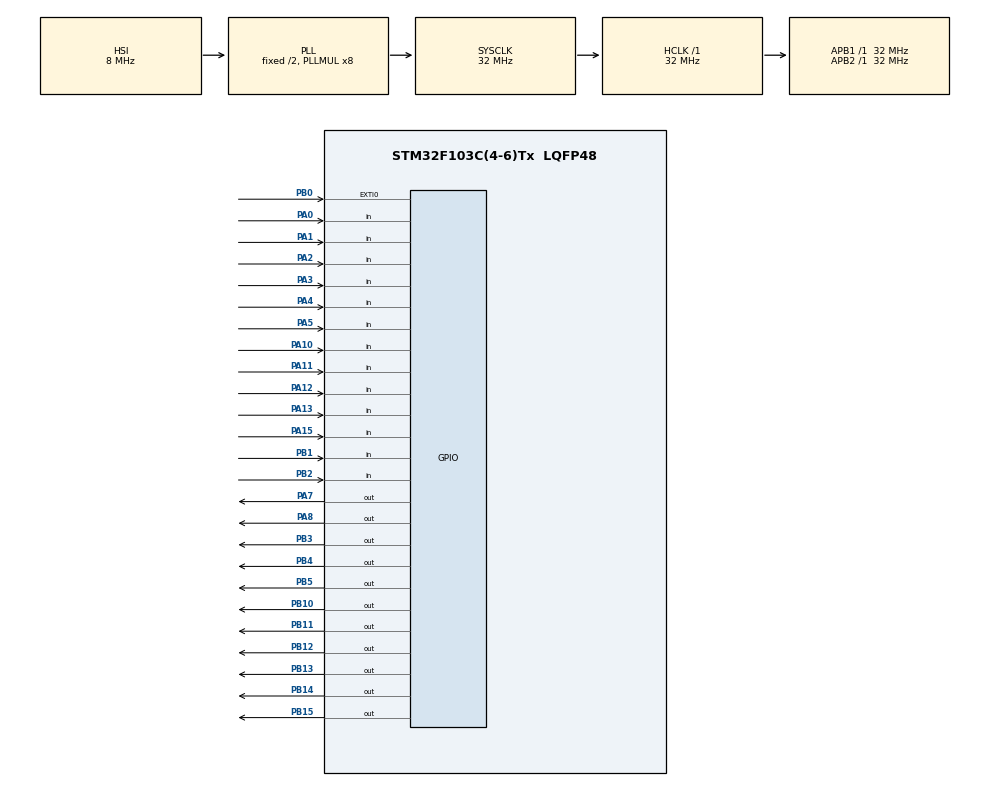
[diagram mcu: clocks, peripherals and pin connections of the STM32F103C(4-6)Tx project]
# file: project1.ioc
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Mcu.Family=STM32F1
Mcu.Name=STM32F103C(4-6)Tx
Mcu.Package=LQFP48
NVIC.EXTI0_IRQn=true\:1\:0\:true\:false\:true\:true\:true\:true
NVIC.PriorityGroup=NVIC_PRIORITYGROUP_4
NVIC.TIM1_UP_IRQn=true\:15\:0\:false\:false\:true\:true\:true\:true
NVIC.TIM3_IRQn=true\:0\:0\:false\:false\:true\:true\:true\:true
NVIC.TimeBase=TIM1_UP_IRQn
NVIC.TimeBaseIP=TIM1
PA0-WKUP.GPIO_PuPd=GPIO_PULLUP
PA0-WKUP.Signal=GPIO_Input
PA1.GPIO_PuPd=GPIO_PULLUP
PA1.Signal=GPIO_Input
PA10.GPIO_PuPd=GPIO_PULLUP
PA10.Signal=GPIO_Input
PA11.GPIO_PuPd=GPIO_PULLUP
PA11.Signal=GPIO_Input
PA12.GPIO_PuPd=GPIO_PULLUP
PA12.Signal=GPIO_Input
PA13.GPIO_PuPd=GPIO_PULLUP
PA13.Signal=GPIO_Input
PA15.GPIO_PuPd=GPIO_PULLUP
PA15.Signal=GPIO_Input
PA2.GPIO_PuPd=GPIO_PULLUP
PA2.Signal=GPIO_Input
PA3.GPIO_PuPd=GPIO_PULLUP
PA3.Signal=GPIO_Input
PA4.GPIO_PuPd=GPIO_PULLUP
PA4.Signal=GPIO_Input
PA5.GPIO_PuPd=GPIO_PULLUP
PA5.Signal=GPIO_Input
PA7.Signal=GPIO_Output
PA8.Signal=GPIO_Output
PB0.GPIO_ModeDefaultEXTI=GPIO_MODE_IT_FALLING
PB0.Signal=GPXTI0
PB1.GPIO_PuPd=GPIO_PULLUP
PB1.Signal=GPIO_Input
PB10.Signal=GPIO_Output
PB11.Signal=GPIO_Output
PB12.Signal=GPIO_Output
PB13.Signal=GPIO_Output
PB14.Signal=GPIO_Output
PB15.Signal=GPIO_Output
PB2.GPIO_PuPd=GPIO_PULLUP
PB2.Signal=GPIO_Input
PB3.Signal=GPIO_Output
PB4.Signal=GPIO_Output
PB5.Signal=GPIO_Output
ProjectManager.HeapSize=0x200
ProjectManager.StackSize=0x400
ProjectManager.TargetToolchain=STM32CubeIDE
RCC.AHBFreq_Value=32000000
RCC.APB1Freq_Value=32000000
RCC.APB1TimFreq_Value=32000000
RCC.APB2Freq_Value=32000000
RCC.APB2TimFreq_Value=32000000
RCC.DATA_CACHE_ENABLE=1
RCC.HCLKFreq_Value=32000000
RCC.INSTRUCTION_CACHE_ENABLE=1
RCC.PLLMUL=RCC_PLL_MUL8
RCC.PWR_Regulator_Voltage_Scale=PWR_REGULATOR_VOLTAGE_SCALE2
RCC.RCC_TIM_PRescaler_Selection=RCC_TIMPRES_DESACTIVATED
RCC.SYSCLKFreq_VALUE=32000000
RCC.SYSCLKSource=RCC_SYSCLKSOURCE_PLLCLK
RCC.USBFreq_Value=32000000
TIM3.AutoReloadPreload=TIM_AUTORELOAD_PRELOAD_DISABLE
TIM3.CounterMode=TIM_COUNTERMODE_UP
TIM3.Prescaler=146
TIM3.TIM_MasterOutputTrigger=TIM_TRGO_UPDATE
VP_SYS_VS_ND.Mode=No_Debug
VP_SYS_VS_tim1.Mode=TIM1
VP_TIM3_VS_ClockSourceINT.Mode=Internal
board=custom

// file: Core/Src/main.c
/* USER CODE BEGIN Header */
/**
  ******************************************************************************
  * @file           : main.c
  * @brief          : Main program body
  ******************************************************************************
  * @attention
  *
  * Copyright (c) 2024 STMicroelectronics.
  * All rights reserved.
  *
  * This software is licensed under terms that can be found in the LICENSE file
  * in the root directory of this software component.
  * If no LICENSE file comes with this software, it is provided AS-IS.
  *
  ******************************************************************************
  */
/* USER CODE END Header */
#include "main.h"

/* USER CODE BEGIN Includes */
#include "lcd_txt.h"
/* USER CODE END Includes */

TIM_HandleTypeDef htim3;

void SystemClock_Config(void);
static void MX_GPIO_Init(void);
static void MX_TIM3_Init(void);

/* USER CODE BEGIN 0 */

int array[10]={};
int col=0;
int ispravan_pass[10]={1,1,2,2};

int kliknuo_OK=0;
int kliknuo_UNOS=0;
int vrata_otvorena=0;
int dozvoljen_unos=0;
int desio_se_interrupt=0;
int enable_dugme_UNOS=1;

/* USER CODE END 0 */

void HAL_GPIO_EXTI_Callback(uint16_t GPIO_Pin)
{
	if(vrata_otvorena==1)
		  enable_dugme_UNOS=0;
	else{
   		  HAL_GPIO_WritePin(GPIOA, GPIO_PIN_7,GPIO_PIN_SET);

		  /* Prevent unused argument(s) compilation warning */
		  UNUSED(GPIO_Pin);

		  enable_dugme_UNOS=1;
		  kliknuo_OK=0;
		  kliknuo_UNOS=1;
		  vrata_otvorena=0;
	}
}

int main(void)
{

  /* MCU Configuration--------------------------------------------------------*/

  /* Reset of all peripherals, Initializes the Flash interface and the Systick. */
  HAL_Init();

  /* Configure the system clock */
  SystemClock_Config();

  /* Initialize all configured peripherals */
  MX_GPIO_Init();
  MX_TIM3_Init();
  /* USER CODE BEGIN 2 */

  HAL_TIM_Base_Start_IT(&htim3);

  lcd_init();
  lcd_puts(0,0,(int8_t*)"Sef je zakljucan");
  HAL_Delay(500);

  /* USER CODE END 2 */

  /* Infinite loop */
  while (1)
  {

    /* USER CODE BEGIN 3 */

	  if(col<=10){

	  if(col<10 && HAL_GPIO_ReadPin(GPIOA,GPIO_PIN_0)==0 && kliknuo_OK==0 && dozvoljen_unos==1){
		  kliknuo_UNOS=0;
		  lcd_puts(1,col,(int8_t*)"0"); //lcd_puts(1,col,(int8_t*)"*"); //za prekrivanje unosa
		  HAL_Delay(500);
		  array[col]=0;
		  col+=1;
	  }
	  if(col<10 && HAL_GPIO_ReadPin(GPIOA,GPIO_PIN_1)==0 && kliknuo_OK==0 && dozvoljen_unos==1){
		  kliknuo_UNOS=0;
		  lcd_puts(1,col,(int8_t*)"1");
		  HAL_Delay(500);
		  array[col]=1;
		  col+=1;
	  }
	  if(col<10 && HAL_GPIO_ReadPin(GPIOA,GPIO_PIN_2)==0 && kliknuo_OK==0 && dozvoljen_unos==1){
		  kliknuo_UNOS=0;
		  lcd_puts(1,col,(int8_t*)"2");
		  HAL_Delay(500);
		  array[col]=2;
		  col+=1;
	  }
	  if(col<10 && HAL_GPIO_ReadPin(GPIOA,GPIO_PIN_3)==0 && kliknuo_OK==0 && dozvoljen_unos==1){
		  kliknuo_UNOS=0;
		  lcd_puts(1,col,(int8_t*)"3");
		  HAL_Delay(500);
		  array[col]=3;
		  col+=1;
	  }
	  if(col<10 && HAL_GPIO_ReadPin(GPIOA,GPIO_PIN_4)==0 && kliknuo_OK==0 && dozvoljen_unos==1){
		  kliknuo_UNOS=0;
		  lcd_puts(1,col,(int8_t*)"4");
		  HAL_Delay(500);
		  array[col]=4;
		  col+=1;
	  }
	  if(col<10 && HAL_GPIO_ReadPin(GPIOA,GPIO_PIN_5)==0 && kliknuo_OK==0 && dozvoljen_unos==1){
		  kliknuo_UNOS=0;
		  lcd_puts(1,col,(int8_t*)"5");
		  HAL_Delay(500);
		  array[col]=5;
		  col+=1;
	  }
	  if(col<10 && HAL_GPIO_ReadPin(GPIOA,GPIO_PIN_13)==0 && kliknuo_OK==0 && dozvoljen_unos==1){
		  kliknuo_UNOS=0;
		  lcd_puts(1,col,(int8_t*)"6");
		  HAL_Delay(500);
		  array[col]=6;
		  col+=1;
	  }
	  if(col<10 && HAL_GPIO_ReadPin(GPIOA,GPIO_PIN_10)==0 && kliknuo_OK==0 && dozvoljen_unos==1){
		  kliknuo_UNOS=0;
		  lcd_puts(1,col,(int8_t*)"7");
		  HAL_Delay(500);
		  array[col]=7;
		  col+=1;
	  }
	  if(col<10 && HAL_GPIO_ReadPin(GPIOA,GPIO_PIN_11)==0 && kliknuo_OK==0 && dozvoljen_unos==1){
		  kliknuo_UNOS=0;
		  lcd_puts(1,col,(int8_t*)"8");
		  HAL_Delay(500);
		  array[col]=8;
		  col+=1;
	  }
	  if(col<10 && HAL_GPIO_ReadPin(GPIOA,GPIO_PIN_12)==0 && kliknuo_OK==0 && dozvoljen_unos==1){
		  kliknuo_UNOS=0;
		  lcd_puts(1,col,(int8_t*)"9");
		  HAL_Delay(500);
		  array[col]=9;
		  col+=1;
	  }
	  if(kliknuo_OK==0 && kliknuo_UNOS==1 && vrata_otvorena==0 && enable_dugme_UNOS==1)
	  {
		  lcd_clear();
		  lcd_puts(0,0,(int8_t*)"Unesite sifru");
		  for(int i=0; i<col; i++){
			array[i]=0;
		  }
		  col=0;
		  dozvoljen_unos=1;
		  kliknuo_UNOS=0;

		  HAL_Delay(500);
	  }
	  if(HAL_GPIO_ReadPin(GPIOA,GPIO_PIN_15)==0 && vrata_otvorena==0 && dozvoljen_unos==1){
		  HAL_GPIO_WritePin(GPIOA, GPIO_PIN_7,GPIO_PIN_RESET);
		  kliknuo_OK=1;
		  kliknuo_UNOS=0;
		  dozvoljen_unos=0;
		  lcd_clear();
		  if(col==0) {
			  lcd_puts(0,0,(int8_t*)"Nema unosa");
			  HAL_Delay(1000);
			  lcd_clear();
			  lcd_puts(0,0,(int8_t*)"Sef je zakljucan");
		  }
		  else if (array[0]==ispravan_pass[0] && array[1]==ispravan_pass[1] &&
			  array[2]==ispravan_pass[2] && array[3]==ispravan_pass[3]
			  && array[4]==0 && ispravan_pass[4]==0){
			lcd_puts(0,0,(int8_t*)"Ispravna sifra");
			lcd_puts(1,0,(int8_t*)"Otkljucavanje...");
			enable_dugme_UNOS=0;

			//motor - otvara vrata
			HAL_GPIO_WritePin(GPIOB,GPIO_PIN_4,1);
			HAL_GPIO_WritePin(GPIOB,GPIO_PIN_5,0);
			HAL_Delay(2000);
			HAL_GPIO_WritePin(GPIOB,GPIO_PIN_4,0);
			HAL_Delay(500);

			vrata_otvorena=1;

			lcd_clear();
			lcd_puts(0,0,(int8_t*)"Vrata otkljucana");
			HAL_Delay(500);
		  }
		  else{
			lcd_puts(0,0,(int8_t*)"Neispravan unos");
			vrata_otvorena=0;
			HAL_Delay(1000);
			lcd_clear();
			lcd_puts(0,0,(int8_t*)"Sef je zakljucan");
		  }

		 HAL_Delay(500);
	 }
	 if(HAL_GPIO_ReadPin(GPIOB,GPIO_PIN_2)==0 && vrata_otvorena==1){
		 vrata_otvorena=0;
		 dozvoljen_unos=0;
		 kliknuo_OK=0;
		 enable_dugme_UNOS=1;
		 lcd_clear();
		 lcd_puts(0,0,(int8_t*)"Zatvaranje...");

		 //motor - zatvara vrata
		 HAL_GPIO_WritePin(GPIOB,GPIO_PIN_4,0);
		 HAL_GPIO_WritePin(GPIOB,GPIO_PIN_5,1);
		 HAL_Delay(2000);
		 HAL_GPIO_WritePin(GPIOB,GPIO_PIN_5,0);
		 HAL_Delay(500);

		 lcd_clear();
		 lcd_puts(0,0,(int8_t*)"Sef je zakljucan");

	  }
	 if(HAL_GPIO_ReadPin(GPIOB,GPIO_PIN_1)==0 && dozvoljen_unos==1){
		 //ponisti unos
		 HAL_GPIO_WritePin(GPIOA, GPIO_PIN_7,GPIO_PIN_RESET);
		 lcd_clear();
		 lcd_puts(0,0,(int8_t*)"Ponisten unos");
		  for(int i=0; i<col; i++){
			array[i]=0;
		  }
		  col=0;
		  dozvoljen_unos=0;
		 HAL_Delay(1000);
		 lcd_clear();
		 lcd_puts(0,0,(int8_t*)"Sef je zakljucan");
	  }
  }

  }
  /* USER CODE END 3 */
}

void SystemClock_Config(void)
{
  RCC_OscInitTypeDef RCC_OscInitStruct = {0};
  RCC_ClkInitTypeDef RCC_ClkInitStruct = {0};

  /** Initializes the RCC Oscillators according to the specified parameters
  * in the RCC_OscInitTypeDef structure.
  */
  RCC_OscInitStruct.OscillatorType = RCC_OSCILLATORTYPE_HSI;
  RCC_OscInitStruct.HSIState = RCC_HSI_ON;
  RCC_OscInitStruct.HSICalibrationValue = RCC_HSICALIBRATION_DEFAULT;
  RCC_OscInitStruct.PLL.PLLState = RCC_PLL_ON;
  RCC_OscInitStruct.PLL.PLLSource = RCC_PLLSOURCE_HSI_DIV2;
  RCC_OscInitStruct.PLL.PLLMUL = RCC_PLL_MUL8;
  if (HAL_RCC_OscConfig(&RCC_OscInitStruct) != HAL_OK)
  {
    Error_Handler();
  }

  /** Initializes the CPU, AHB and APB buses clocks
  */
  RCC_ClkInitStruct.ClockType = RCC_CLOCKTYPE_HCLK|RCC_CLOCKTYPE_SYSCLK
                              |RCC_CLOCKTYPE_PCLK1|RCC_CLOCKTYPE_PCLK2;
  RCC_ClkInitStruct.SYSCLKSource = RCC_SYSCLKSOURCE_PLLCLK;
  RCC_ClkInitStruct.AHBCLKDivider = RCC_SYSCLK_DIV1;
  RCC_ClkInitStruct.APB1CLKDivider = RCC_HCLK_DIV1;
  RCC_ClkInitStruct.APB2CLKDivider = RCC_HCLK_DIV1;

  if (HAL_RCC_ClockConfig(&RCC_ClkInitStruct, FLASH_LATENCY_1) != HAL_OK)
  {
    Error_Handler();
  }
}

static void MX_TIM3_Init(void)
{

  TIM_ClockConfigTypeDef sClockSourceConfig = {0};
  TIM_MasterConfigTypeDef sMasterConfig = {0};

  htim3.Instance = TIM3;
  htim3.Init.Prescaler = 146;
  htim3.Init.CounterMode = TIM_COUNTERMODE_UP;
  htim3.Init.Period = 65535;
  htim3.Init.ClockDivision = TIM_CLOCKDIVISION_DIV1;
  htim3.Init.AutoReloadPreload = TIM_AUTORELOAD_PRELOAD_DISABLE;
  if (HAL_TIM_Base_Init(&htim3) != HAL_OK)
  {
    Error_Handler();
  }
  sClockSourceConfig.ClockSource = TIM_CLOCKSOURCE_INTERNAL;
  if (HAL_TIM_ConfigClockSource(&htim3, &sClockSourceConfig) != HAL_OK)
  {
    Error_Handler();
  }
  sMasterConfig.MasterOutputTrigger = TIM_TRGO_UPDATE;
  sMasterConfig.MasterSlaveMode = TIM_MASTERSLAVEMODE_DISABLE;
  if (HAL_TIMEx_MasterConfigSynchronization(&htim3, &sMasterConfig) != HAL_OK)
  {
    Error_Handler();
  }

}

static void MX_GPIO_Init(void)
{
  GPIO_InitTypeDef GPIO_InitStruct = {0};

  /* GPIO Ports Clock Enable */
  __HAL_RCC_GPIOA_CLK_ENABLE();
  __HAL_RCC_GPIOB_CLK_ENABLE();

  /*Configure GPIO pin Output Level */
  HAL_GPIO_WritePin(GPIOA, GPIO_PIN_7|GPIO_PIN_8, GPIO_PIN_RESET);

  /*Configure GPIO pin Output Level */
  HAL_GPIO_WritePin(GPIOB, GPIO_PIN_10|GPIO_PIN_11|GPIO_PIN_12|GPIO_PIN_13
                          |GPIO_PIN_14|GPIO_PIN_15|GPIO_PIN_3|GPIO_PIN_4
                          |GPIO_PIN_5, GPIO_PIN_RESET);

  /*Configure GPIO pins : PA0 PA1 PA2 PA3
                           PA4 PA5 PA10 PA11
                           PA12 PA13 PA15 */
  GPIO_InitStruct.Pin = GPIO_PIN_0|GPIO_PIN_1|GPIO_PIN_2|GPIO_PIN_3
                          |GPIO_PIN_4|GPIO_PIN_5|GPIO_PIN_10|GPIO_PIN_11
                          |GPIO_PIN_12|GPIO_PIN_13|GPIO_PIN_15;
  GPIO_InitStruct.Mode = GPIO_MODE_INPUT;
  GPIO_InitStruct.Pull = GPIO_PULLUP;
  HAL_GPIO_Init(GPIOA, &GPIO_InitStruct);

  /*Configure GPIO pins : PA7 PA8 */
  GPIO_InitStruct.Pin = GPIO_PIN_7|GPIO_PIN_8;
  GPIO_InitStruct.Mode = GPIO_MODE_OUTPUT_PP;
  GPIO_InitStruct.Pull = GPIO_NOPULL;
  GPIO_InitStruct.Speed = GPIO_SPEED_FREQ_LOW;
  HAL_GPIO_Init(GPIOA, &GPIO_InitStruct);

  /*Configure GPIO pin : PB0 */
  GPIO_InitStruct.Pin = GPIO_PIN_0;
  GPIO_InitStruct.Mode = GPIO_MODE_IT_FALLING;
  GPIO_InitStruct.Pull = GPIO_NOPULL;
  HAL_GPIO_Init(GPIOB, &GPIO_InitStruct);

  /*Configure GPIO pins : PB1 PB2 */
  GPIO_InitStruct.Pin = GPIO_PIN_1|GPIO_PIN_2;
  GPIO_InitStruct.Mode = GPIO_MODE_INPUT;
  GPIO_InitStruct.Pull = GPIO_PULLUP;
  HAL_GPIO_Init(GPIOB, &GPIO_InitStruct);

  /*Configure GPIO pins : PB10 PB11 PB12 PB13
                           PB14 PB15 PB3 PB4
                           PB5 */
  GPIO_InitStruct.Pin = GPIO_PIN_10|GPIO_PIN_11|GPIO_PIN_12|GPIO_PIN_13
                          |GPIO_PIN_14|GPIO_PIN_15|GPIO_PIN_3|GPIO_PIN_4
                          |GPIO_PIN_5;
  GPIO_InitStruct.Mode = GPIO_MODE_OUTPUT_PP;
  GPIO_InitStruct.Pull = GPIO_NOPULL;
  GPIO_InitStruct.Speed = GPIO_SPEED_FREQ_LOW;
  HAL_GPIO_Init(GPIOB, &GPIO_InitStruct);

  /* EXTI interrupt init*/
  HAL_NVIC_SetPriority(EXTI0_IRQn, 1, 0);
  HAL_NVIC_EnableIRQ(EXTI0_IRQn);

}

/* USER CODE BEGIN 4 */
/*
void HAL_TIM_PeriodElapsedCallback(TIM_HandleTypeDef *htim){
	HAL_GPIO_TogglePin(GPIOA,GPIO_PIN_7);
}
*/

/* USER CODE END 4 */

void HAL_TIM_PeriodElapsedCallback(TIM_HandleTypeDef *htim)
{
  /* USER CODE BEGIN Callback 0 */

		if( htim->Instance == TIM3) {
		    if(vrata_otvorena==1)
			{
				//HAL_GPIO_WritePin(GPIOB,GPIO_PIN_3, GPIO_PIN_SET);
				HAL_GPIO_TogglePin(GPIOB,GPIO_PIN_3);

			}
			else HAL_GPIO_WritePin(GPIOB,GPIO_PIN_3, GPIO_PIN_RESET);
		  }

  /* USER CODE END Callback 0 */
  if (htim->Instance == TIM1) {
    HAL_IncTick();
  }
}

void Error_Handler(void)
{
  __disable_irq();
  while (1)
  {
  }
}
